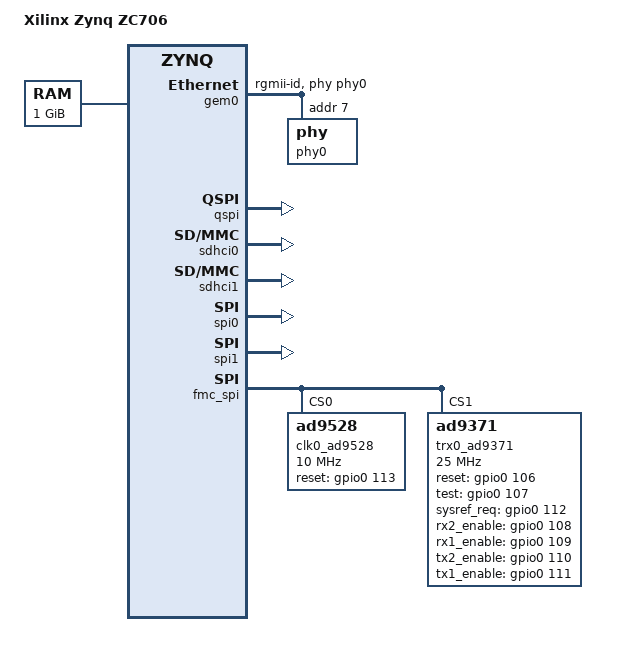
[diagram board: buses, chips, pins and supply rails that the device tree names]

/dts-v1/;
/////////////////////////////////////////////////////////////////////////////////////////////////////
///include/ "zynq-zc706.dtsi"
/include/ "zynq.dtsi"

/ {
	model = "Xilinx Zynq ZC706";
	memory {
		device_type = "memory";
		reg = <0x00000000 0x40000000>;
	};

	chosen {
		bootargs = "console=ttyPS0,115200 root=/dev/mmcblk0p2 rw earlyprintk rootfstype=ext4 rootwait";
		linux,stdout-path = "/amba@0/uart@E0001000";
	};
};

&gem0 {
	phy-handle = <&phy0>;
	phy-mode = "rgmii-id";

	phy0: phy@7 {
		device_type = "ethernet-phy";
		reg = <0x7>;
	};
};

&gpio0 {
	emio-gpio-width = <64>;
	gpio-mask-high = <0x0>;
	gpio-mask-low = <0x5600>;
};

&intc {
	num_cpus = <2>;
	num_interrupts = <96>;
};

&qspi {
	is-dual = <0>;
	num-cs = <1>;
	status = "okay";
};
&sdhci0 {
	status = "okay";
	xlnx,has-cd = <0x1>;
	xlnx,has-power = <0x0>;
	xlnx,has-wp = <0x0>;
};
&sdhci1 {
	status = "okay";
	xlnx,has-cd = <0x0>;
	xlnx,has-power = <0x0>;
	xlnx,has-wp = <0x0>;
};
&spi0 {
	is-decoded-cs = <0>;
	num-cs = <3>;
	status = "okay";
};
&spi1 {
	is-decoded-cs = <0>;
	num-cs = <3>;
	status = "okay";
};
/////////////////////////////////////////////////////////////////////////////////////////////////////////
///include/ "zynq-zc706-adv7511.dtsi"
/ {
	fpga_axi: fpga-axi@0 {
		compatible = "simple-bus";
		#address-cells = <0x1>;
		#size-cells = <0x1>;
		ranges;
	};
};

//////////////////////////////////////////////////////////////////////////////////
&fpga_axi {
	rx_dma: rx-dmac@7c400000 {
		compatible = "adi,axi-dmac-1.00.a";
		reg = <0x7c400000 0x10000>;
		#dma-cells = <1>;
		interrupts = <0 58 0>;/* 57 */
		clocks = <&clkc 16>;

		dma-channel {
			adi,buswidth = <64>;
			adi,type = <0>;
		};
	};

	rx_obs_dma: rx-obs-dmac@7c440000  {
		compatible = "adi,axi-dmac-1.00.a";
		reg = <0x7c440000  0x10000>;
		#dma-cells = <1>;
		interrupts = <0 56 0>;/* 55 */
		clocks = <&clkc 16>;

		dma-channel {
			adi,buswidth = <64>;
			adi,type = <0>;
		};
	};

	tx_dma: tx-dmac@7c420000 {
		compatible = "adi,axi-dmac-1.00.a";
		reg = <0x7c420000 0x10000>;
		#dma-cells = <1>;
		interrupts = <0 57 0>;/* 56 */
		clocks = <&clkc 16>;

		dma-channel {
			adi,buswidth = <128>;
			adi,type = <1>;
			adi,cyclic;
		};
	};

	axi_ad9371_core_rx: axi-ad9371-rx-hpc@44a00000 {
		compatible = "adi,axi-ad9371-rx-1.0";
		reg = <0x44a00000 0x8000>;
		dmas = <&rx_dma 0>;
		dma-names = "rx";
		spibus-connected = <&trx0_ad9371>;
	};

	axi_ad9371_core_rx_obs: axi-ad9371-rx-obs-hpc@44a08000 {
		compatible = "adi,axi-ad9371-obs-1.0";
		reg = <0x44a08000 0x1000>;
		dmas = <&rx_obs_dma 0>;
		dma-names = "rx";
		clocks = <&trx0_ad9371 1>;
		clock-names = "sampl_clk";
	};

	axi_ad9371_core_tx: axi-ad9371-tx-hpc@44a04000 {
		compatible = "adi,axi-ad9371-tx-1.0";
		reg = <0x44a04000 0x4000>;
		dmas = <&tx_dma 0>;
		dma-names = "tx";
		clocks = <&trx0_ad9371 2>;
		clock-names = "sampl_clk";
		spibus-connected = <&trx0_ad9371>;
		adi,axi-pl-fifo-enable;
	};

	axi_ad9371_rx_jesd: axi-jesd204-rx@44aa0000 {
		compatible = "adi,axi-jesd204-rx-1.0";
		reg = <0x44aa0000 0x1000>;

		interrupts = <0 55 0>;/* 54 */

		clocks = <&clkc 16>, <&axi_rx_clkgen>, <&axi_ad9371_adxcvr_rx 0>;
		clock-names = "s_axi_aclk", "device_clk", "lane_clk";

		#clock-cells = <0>;
		clock-output-names = "jesd_rx_lane_clk";

		adi,octets-per-frame = <4>;
		adi,frames-per-multiframe = <32>;
	};

	axi_ad9371_tx_jesd: axi-jesd204-tx@44a90000 {
		compatible = "adi,axi-jesd204-tx-1.0";
		reg = <0x44a90000 0x1000>;

		interrupts = <0 54 0>;/* 53 */

		clocks = <&clkc 16>, <&axi_tx_clkgen>, <&axi_ad9371_adxcvr_tx 0>;
		clock-names = "s_axi_aclk", "device_clk", "lane_clk";

		#clock-cells = <0>;
		clock-output-names = "jesd_tx_lane_clk";

		adi,octets-per-frame = <2>;
		adi,frames-per-multiframe = <32>;
		adi,converter-resolution = <14>;
		adi,bits-per-sample = <16>;
		adi,converters-per-device = <4>;
		adi,control-bits-per-sample = <2>;
	};

	axi_ad9371_rx_os_jesd: axi-jesd204-rx@44ab0000 {
		compatible = "adi,axi-jesd204-rx-1.0";
		reg = <0x44ab0000 0x1000>;

		interrupts = <0 53 0>;/* 52 */

		clocks = <&clkc 16>, <&axi_rx_os_clkgen>, <&axi_ad9371_adxcvr_rx_os 0>;
		clock-names = "s_axi_aclk", "device_clk", "lane_clk";

		#clock-cells = <0>;
		clock-output-names = "jesd_rx_os_lane_clk";

		adi,octets-per-frame = <2>;
		adi,frames-per-multiframe = <32>;
	};

	axi_tx_clkgen: axi-clkgen@43c00000  {
		compatible = "adi,axi-clkgen-2.00.a";
		reg = <0x43c00000 0x10000>;
		#clock-cells = <0>;
		clocks = <&clk0_ad9528 1>;
		clock-output-names = "axi_tx_clkgen";
	};

	axi_rx_clkgen: axi-clkgen@43c10000  {
		compatible = "adi,axi-clkgen-2.00.a";
		reg = <0x43c10000 0x10000>;
		#clock-cells = <0>;
		clocks = <&clk0_ad9528 1>;
		clock-output-names = "axi_rx_clkgen";

	};

	axi_rx_os_clkgen: axi-clkgen@43c20000  {
		compatible = "adi,axi-clkgen-2.00.a";
		reg = <0x43c20000 0x10000>;
		#clock-cells = <0>;
		clocks = <&clk0_ad9528 1>;
		clock-output-names = "axi_rx_os_clkgen";

	};

	axi_ad9371_adxcvr_rx: axi-adxcvr-rx@44a60000 {
		#address-cells = <1>;
		#size-cells = <0>;
		compatible = "adi,axi-adxcvr-1.0";
		reg = <0x44a60000 0x1000>;

		clocks = <&clk0_ad9528 1>, <&axi_rx_clkgen 0>;
		clock-names = "conv", "div40";

		#clock-cells = <1>;
		clock-output-names = "rx_gt_clk", "rx_out_clk";

		adi,sys-clk-select = <0>;
		adi,out-clk-select = <3>;
		adi,use-lpm-enable;
		adi,use-cpll-enable;
	};

	axi_ad9371_adxcvr_rx_os: axi-adxcvr-rx-os@44a70000 {
		#address-cells = <1>;
		#size-cells = <0>;
		compatible = "adi,axi-adxcvr-1.0";
		reg = <0x44a70000 0x1000>;

		clocks = <&clk0_ad9528 1>, <&axi_rx_os_clkgen>;
		clock-names = "conv", "div40";

		#clock-cells = <1>;
		clock-output-names = "rx_os_gt_clk", "rx_os_out_clk";

		adi,sys-clk-select = <0>;
		adi,out-clk-select = <3>;
		adi,use-lpm-enable;
		adi,use-cpll-enable;
	};

	axi_ad9371_adxcvr_tx: axi-adxcvr-tx@44a80000 {
		#address-cells = <1>;
		#size-cells = <0>;
		compatible = "adi,axi-adxcvr-1.0";
		reg = <0x44a80000 0x1000>;

		clocks = <&clk0_ad9528 1>, <&axi_tx_clkgen>;
		clock-names = "conv", "div40";

		#clock-cells = <1>;
		clock-output-names = "tx_gt_clk", "tx_out_clk";

		adi,sys-clk-select = <3>;
		adi,out-clk-select = <3>;
	};
};

&spi0 {
	status = "okay";
};

#define fmc_spi spi0


#include <dt-bindings/iio/frequency/ad9528.h>

/ {
	clocks {
		ad9371_clkin: clock@0 {
			#clock-cells = <0>;
			compatible = "fixed-clock";
			clock-frequency = <12288000>;
			clock-output-names = "ad9371_ext_refclk";
		};
	};
};

&fmc_spi {

	clk0_ad9528: ad9528-1@0 {
		#address-cells = <1>;
		#size-cells = <0>;
		#clock-cells = <1>;
		compatible = "ad9528";

		spi-max-frequency = <10000000>;
		//adi,spi-3wire-enable;
		reg = <0>;

		clock-output-names = "ad9528-1_out0", "ad9528-1_out1", "ad9528-1_out2", "ad9528-1_out3", "ad9528-1_out4", "ad9528-1_out5", "ad9528-1_out6", "ad9528-1_out7", "ad9528-1_out8", "ad9528-1_out9", "ad9528-1_out10", "ad9528-1_out11", "ad9528-1_out12", "ad9528-1_out13";
		adi,vcxo-freq = <122880000>;

		adi,refa-enable;
		adi,refa-diff-rcv-enable;
		adi,refa-r-div = <1>;
		adi,osc-in-cmos-neg-inp-enable;

		/* PLL1 config */
		adi,pll1-feedback-div = <4>;
		adi,pll1-charge-pump-current-nA = <5000>;


		/* PLL2 config */
		adi,pll2-vco-div-m1 = <3>; /* use 5 for 184320000 output device clock */
		adi,pll2-n2-div = <10>; /* N / M1 */
		adi,pll2-r1-div = <1>;
		adi,pll2-charge-pump-current-nA = <805000>;

		/* SYSREF config */
		adi,sysref-src = <SYSREF_SRC_INTERNAL>;
		adi,sysref-pattern-mode = <SYSREF_PATTERN_CONTINUOUS>;
		adi,sysref-k-div = <512>;
		adi,sysref-request-enable;
		adi,sysref-nshot-mode = <SYSREF_NSHOT_4_PULSES>;
		adi,sysref-request-trigger-mode = <SYSREF_LEVEL_HIGH>;

		adi,rpole2 = <RPOLE2_900_OHM>;
		adi,rzero = <RZERO_1850_OHM>;
		adi,cpole1 = <CPOLE1_16_PF>;

		adi,status-mon-pin0-function-select = <1>; /* PLL1 & PLL2 Locked */
		adi,status-mon-pin1-function-select = <7>; /* REFA Correct */

		ad9528_0_c13: channel@13 {
			reg = <13>;
			adi,extended-name = "DEV_CLK";
			adi,driver-mode = <DRIVER_MODE_LVDS>;
			adi,divider-phase = <0>;
			adi,channel-divider = <10>;
			adi,signal-source = <SOURCE_VCO>;
		};

		ad9528_0_c1: channel@1 {
			reg = <1>;
			adi,extended-name = "FMC_CLK";
			adi,driver-mode = <DRIVER_MODE_LVDS>;
			adi,divider-phase = <0>;
			adi,channel-divider = <10>;
			adi,signal-source = <SOURCE_VCO>;
		};

		ad9528_0_c12: channel@12 {
			reg = <12>;
			adi,extended-name = "DEV_SYSREF";
			adi,driver-mode = <DRIVER_MODE_LVDS>;
			adi,divider-phase = <0>;
			adi,channel-divider = <10>;
			adi,signal-source = <SOURCE_SYSREF_VCO>;
		};

		ad9528_0_c3: channel@3 {
			reg = <3>;
			adi,extended-name = "FMC_SYSREF";
			adi,driver-mode = <DRIVER_MODE_LVDS>;
			adi,divider-phase = <0>;
			adi,channel-divider = <10>;
			adi,signal-source = <SOURCE_SYSREF_VCO>;
		};

	};


	trx0_ad9371: ad9371-phy@1 {
		#address-cells = <1>;
		#size-cells = <0>;
		#clock-cells = <1>;
		compatible = "ad9371";

		/* SPI Setup */
		reg = <1>;
		spi-max-frequency = <25000000>;

		/* Clocks */
		clocks = <&axi_ad9371_rx_jesd>, <&axi_ad9371_tx_jesd>, <&axi_ad9371_rx_os_jesd>, <&clk0_ad9528 13>, <&clk0_ad9528 1>;
		clock-names = "jesd_rx_clk", "jesd_tx_clk", "jesd_rx_os_clk", "dev_clk", "fmc_clk";
		clock-output-names = "rx_sampl_clk", "rx_os_sampl_clk", "tx_sampl_clk";

		adi,clocks-clk-pll-vco-freq_khz = <9830400>;
		adi,clocks-device-clock_khz = <122880>;
		adi,clocks-clk-pll-hs-div = <4>;
		adi,clocks-clk-pll-vco-div = <2>;

		adi,jesd204-obs-framer-over-sample = <0>;

		adi,rx-profile-adc-div = <1>;
		adi,rx-profile-en-high-rej-dec5 = <1>;
		adi,rx-profile-iq-rate_khz = <122880>;
		adi,rx-profile-rf-bandwidth_hz = <100000000>;
		adi,rx-profile-rhb1-decimation = <1>;
		adi,rx-profile-rx-bbf-3db-corner_khz = <100000>;
		adi,rx-profile-rx-dec5-decimation = <5>;
		adi,rx-profile-rx-fir-decimation = <2>;

		adi,obs-profile-adc-div = <1>;
		adi,obs-profile-en-high-rej-dec5 = <0>;
		adi,obs-profile-iq-rate_khz = <245760>;
		adi,obs-profile-rf-bandwidth_hz = <200000000>;
		adi,obs-profile-rhb1-decimation = <1>;
		adi,obs-profile-rx-bbf-3db-corner_khz = <100000>;
		adi,obs-profile-rx-dec5-decimation = <5>;
		adi,obs-profile-rx-fir-decimation = <1>;

		adi,tx-profile-dac-div = <1>;
		adi,tx-profile-iq-rate_khz = <245760>;
		adi,tx-profile-primary-sig-bandwidth_hz = <75000000>;
		adi,tx-profile-rf-bandwidth_hz = <200000000>;
		adi,tx-profile-thb1-interpolation = <2>;
		adi,tx-profile-thb2-interpolation = <1>;
		adi,tx-profile-tx-bbf-3db-corner_khz = <100000>;
		adi,tx-profile-tx-dac-3db-corner_khz = <189477>;
		adi,tx-profile-tx-fir-interpolation = <1>;
		adi,tx-profile-tx-input-hb-interpolation = <1>;

		adi,sniffer-profile-adc-div = <1>;
		adi,sniffer-profile-en-high-rej-dec5 = <0>;
		adi,sniffer-profile-iq-rate_khz = <30720>;
		adi,sniffer-profile-rf-bandwidth_hz = <20000000>;
		adi,sniffer-profile-rhb1-decimation = <2>;
		adi,sniffer-profile-rx-bbf-3db-corner_khz = <100000>;
		adi,sniffer-profile-rx-dec5-decimation = <5>;
		adi,sniffer-profile-rx-fir-decimation = <4>;
	};
};




&trx0_ad9371 {
	reset-gpios = <&gpio0 106 0>;
	test-gpios = <&gpio0 107 0>;
	sysref_req-gpios = <&gpio0 112 0>;
	rx2_enable-gpios = <&gpio0 108 0>;
	rx1_enable-gpios = <&gpio0 109 0>;
	tx2_enable-gpios = <&gpio0 110 0>;
	tx1_enable-gpios = <&gpio0 111 0>;
};

&clk0_ad9528 {
	reset-gpios = <&gpio0 113 0>;
};

&axi_ad9371_core_tx {
	plddrbypass-gpios = <&gpio0 114 0>;
};
